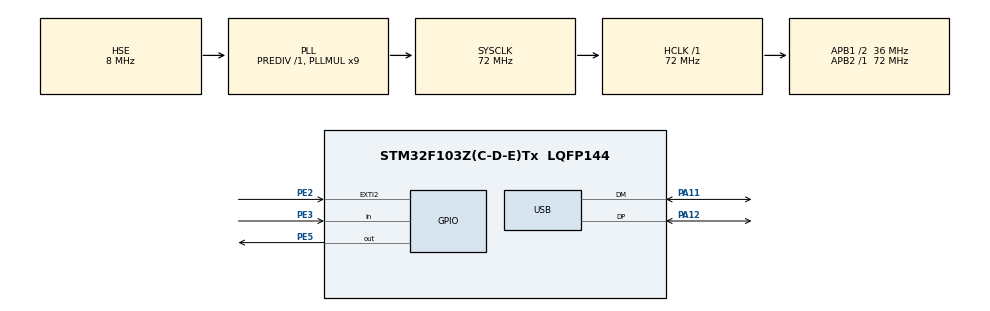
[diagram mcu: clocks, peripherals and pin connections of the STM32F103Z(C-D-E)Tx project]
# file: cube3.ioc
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Mcu.Family=STM32F1
Mcu.Name=STM32F103Z(C-D-E)Tx
Mcu.Package=LQFP144
NVIC.EXTI2_IRQn=true\:0\:0\:false\:false\:true
NVIC.PriorityGroup=NVIC_PRIORITYGROUP_4
NVIC.USB_LP_CAN1_RX0_IRQn=true\:0\:0\:false\:false\:true
OSC_IN.Mode=HSE-External-Oscillator
OSC_IN.Signal=RCC_OSC_IN
OSC_OUT.Mode=HSE-External-Oscillator
OSC_OUT.Signal=RCC_OSC_OUT
PA11.Mode=Device
PA11.Signal=USB_DM
PA12.Mode=Device
PA12.Signal=USB_DP
PA13.Mode=JTAG_5_pins
PA13.Signal=SYS_JTMS-SWDIO
PA14.Mode=JTAG_5_pins
PA14.Signal=SYS_JTCK-SWCLK
PA15.Mode=JTAG_5_pins
PA15.Signal=SYS_JTDI
PB3.Mode=JTAG_5_pins
PB3.Signal=SYS_JTDO-TRACESWO
PB4.Mode=JTAG_5_pins
PB4.Signal=SYS_NJTRST
PE2.GPIO_PuPd=GPIO_PULLUP
PE2.Signal=GPXTI2
PE3.GPIO_PuPd=GPIO_PULLUP
PE3.Signal=GPIO_Input
PE5.Signal=GPIO_Output
ProjectManager.HeapSize=0x200
ProjectManager.StackSize=0x400
ProjectManager.TargetToolchain=MDK-ARM V5
RCC.AHBFreq_Value=72000000
RCC.APB1CLKDivider=RCC_HCLK_DIV2
RCC.APB1Freq_Value=36000000
RCC.APB1TimFreq_Value=72000000
RCC.APB2Freq_Value=72000000
RCC.APB2TimFreq_Value=72000000
RCC.HCLKFreq_Value=72000000
RCC.HSIState=RCC_HSI_ON
RCC.PLLMUL=RCC_PLL_MUL9
RCC.SYSCLKFreq_VALUE=72000000
RCC.SYSCLKSource=RCC_SYSCLKSOURCE_PLLCLK
RCC.USBFreq_Value=48000000
RCC.USBPrescaler=RCC_USBCLKSOURCE_PLL_DIV1_5
USB_DEVICE.USBD_HandleTypeDef=hUsbDeviceFS
USB_DEVICE.VirtualMode=Hid
USB_DEVICE.VirtualModeFS=Hid_FS
VP_USB_DEVICE_VS_USB_DEVICE_HID_FS.Mode=HID_FS
board=cube3

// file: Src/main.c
/**
  ******************************************************************************
  * File Name          : main.c
  * Description        : Main program body
  ******************************************************************************
  *
  * Copyright (c) 2017 STMicroelectronics International N.V.
  * All rights reserved.
  *
  * Redistribution and use in source and binary forms, with or without
  * modification, are permitted, provided that the following conditions are met:
  *
  * 1. Redistribution of source code must retain the above copyright notice,
  *    this list of conditions and the following disclaimer.
  * 2. Redistributions in binary form must reproduce the above copyright notice,
  *    this list of conditions and the following disclaimer in the documentation
  *    and/or other materials provided with the distribution.
  * 3. Neither the name of STMicroelectronics nor the names of other
  *    contributors to this software may be used to endorse or promote products
  *    derived from this software without specific written permission.
  * 4. This software, including modifications and/or derivative works of this
  *    software, must execute solely and exclusively on microcontroller or
  *    microprocessor devices manufactured by or for STMicroelectronics.
  * 5. Redistribution and use of this software other than as permitted under
  *    this license is void and will automatically terminate your rights under
  *    this license.
  *
  * THIS SOFTWARE IS PROVIDED BY STMICROELECTRONICS AND CONTRIBUTORS "AS IS"
  * AND ANY EXPRESS, IMPLIED OR STATUTORY WARRANTIES, INCLUDING, BUT NOT
  * LIMITED TO, THE IMPLIED WARRANTIES OF MERCHANTABILITY, FITNESS FOR A
  * PARTICULAR PURPOSE AND NON-INFRINGEMENT OF THIRD PARTY INTELLECTUAL PROPERTY
  * RIGHTS ARE DISCLAIMED TO THE FULLEST EXTENT PERMITTED BY LAW. IN NO EVENT
  * SHALL STMICROELECTRONICS OR CONTRIBUTORS BE LIABLE FOR ANY DIRECT, INDIRECT,
  * INCIDENTAL, SPECIAL, EXEMPLARY, OR CONSEQUENTIAL DAMAGES (INCLUDING, BUT NOT
  * LIMITED TO, PROCUREMENT OF SUBSTITUTE GOODS OR SERVICES; LOSS OF USE, DATA,
  * OR PROFITS; OR BUSINESS INTERRUPTION) HOWEVER CAUSED AND ON ANY THEORY OF
  * LIABILITY, WHETHER IN CONTRACT, STRICT LIABILITY, OR TORT (INCLUDING
  * NEGLIGENCE OR OTHERWISE) ARISING IN ANY WAY OUT OF THE USE OF THIS SOFTWARE,
  * EVEN IF ADVISED OF THE POSSIBILITY OF SUCH DAMAGE.
  *
  ******************************************************************************
  */
#include "main.h"
#include "stm32f1xx_hal.h"
#include "usb_device.h"

/* USER CODE BEGIN Includes */
#include "usbd_hid.h"
#include "usb_device_keyboard.h"

//key0: PE4
//key1: PE3
//key2: PE2

/* USER CODE END Includes */

/* USER CODE BEGIN PV */
/* Private variables ---------------------------------------------------------*/
void SystemClock_Config(void);
void Error_Handler(void);
static void MX_GPIO_Init(void);
static uint8_t chars[] = {
	0x04, // a & A
	0x05, // b & B
	0x06, // c
	0x07, // d
	0x08, // e
	0x09, // f
	0x0a, // g
	0x0b, // h
	0x0c, // i
};
/* USER CODE END PV */

void SystemClock_Config(void);
void Error_Handler(void);
static void MX_GPIO_Init(void);

/* USER CODE BEGIN PFP */
/* Private function prototypes -----------------------------------------------*/

/* USER CODE END PFP */

int main(void)
{

  /* USER CODE BEGIN 1 */
extern USBD_HandleTypeDef hUsbDeviceFS;
extern USBD_HandleTypeDef hUsbDeviceFS_Keyboard;
uint8_t send_buf[8] = {0,0,0x11,0,0,0,0,0};
uint8_t send_null[8] = {0,0,0,0,0,0,0,0};
uint8_t cc = 'a';
uint8_t tmp = 0x00;

  /* USER CODE END 1 */

  /* MCU Configuration----------------------------------------------------------*/

  /* Reset of all peripherals, Initializes the Flash interface and the Systick. */
  HAL_Init();

  /* Configure the system clock */
  SystemClock_Config();

  /* Initialize all configured peripherals */
  MX_GPIO_Init();
  MX_USB_DEVICE_Init();

  /* USER CODE BEGIN 2 */
	MX_USB_DEVICE_Keyboard_Init();
	HAL_Delay(1000);
		switch ( cc )
  {
		case 'a':
				tmp = chars[4];
				break;
     case 'A':
				tmp = chars[4];
				break;
		 case 'b':
				tmp = chars[5];
				break;
     default:
        tmp = 0x13;
				break;
  }
	//send_buf[2] = tmp;
	USBD_HID_SendReport(&hUsbDeviceFS_Keyboard,send_buf,8);
	USBD_HID_SendReport(&hUsbDeviceFS_Keyboard,send_null,8);

	HAL_GPIO_WritePin(GPIOE,GPIO_PIN_5,GPIO_PIN_RESET);
	//HAL_GPIO_TogglePin(GPIOE,GPIO_PIN_5);
  /* USER CODE END 2 */

  /* Infinite loop */
  while (1)
  {
		if(HAL_GPIO_ReadPin(GPIOE,GPIO_PIN_3) == GPIO_PIN_RESET)
		{
			//USBD_HID_SendReport(&hUsbDeviceFS_Keyboard,send_null,8);
			HAL_Delay(500);
			USBD_HID_SendReport(&hUsbDeviceFS_Keyboard,send_buf,8);
			HAL_GPIO_WritePin(GPIOE,GPIO_PIN_5,GPIO_PIN_SET);
		}
		else
		{
			USBD_HID_SendReport(&hUsbDeviceFS_Keyboard,send_null,8);
		}
  }

}

/** System Clock Configuration
*/
void SystemClock_Config(void)
{

  RCC_OscInitTypeDef RCC_OscInitStruct;
  RCC_ClkInitTypeDef RCC_ClkInitStruct;
  RCC_PeriphCLKInitTypeDef PeriphClkInit;

    /**Initializes the CPU, AHB and APB busses clocks
    */
  RCC_OscInitStruct.OscillatorType = RCC_OSCILLATORTYPE_HSE;
  RCC_OscInitStruct.HSEState = RCC_HSE_ON;
  RCC_OscInitStruct.HSEPredivValue = RCC_HSE_PREDIV_DIV1;
  RCC_OscInitStruct.HSIState = RCC_HSI_ON;
  RCC_OscInitStruct.PLL.PLLState = RCC_PLL_ON;
  RCC_OscInitStruct.PLL.PLLSource = RCC_PLLSOURCE_HSE;
  RCC_OscInitStruct.PLL.PLLMUL = RCC_PLL_MUL9;
  if (HAL_RCC_OscConfig(&RCC_OscInitStruct) != HAL_OK)
  {
    Error_Handler();
  }

    /**Initializes the CPU, AHB and APB busses clocks
    */
  RCC_ClkInitStruct.ClockType = RCC_CLOCKTYPE_HCLK|RCC_CLOCKTYPE_SYSCLK
                              |RCC_CLOCKTYPE_PCLK1|RCC_CLOCKTYPE_PCLK2;
  RCC_ClkInitStruct.SYSCLKSource = RCC_SYSCLKSOURCE_PLLCLK;
  RCC_ClkInitStruct.AHBCLKDivider = RCC_SYSCLK_DIV1;
  RCC_ClkInitStruct.APB1CLKDivider = RCC_HCLK_DIV2;
  RCC_ClkInitStruct.APB2CLKDivider = RCC_HCLK_DIV1;

  if (HAL_RCC_ClockConfig(&RCC_ClkInitStruct, FLASH_LATENCY_2) != HAL_OK)
  {
    Error_Handler();
  }

  PeriphClkInit.PeriphClockSelection = RCC_PERIPHCLK_USB;
  PeriphClkInit.UsbClockSelection = RCC_USBCLKSOURCE_PLL_DIV1_5;
  if (HAL_RCCEx_PeriphCLKConfig(&PeriphClkInit) != HAL_OK)
  {
    Error_Handler();
  }

    /**Configure the Systick interrupt time
    */
  HAL_SYSTICK_Config(HAL_RCC_GetHCLKFreq()/1000);

    /**Configure the Systick
    */
  HAL_SYSTICK_CLKSourceConfig(SYSTICK_CLKSOURCE_HCLK);

  /* SysTick_IRQn interrupt configuration */
  HAL_NVIC_SetPriority(SysTick_IRQn, 0, 0);
}

/** Configure pins as
        * Analog
        * Input
        * Output
        * EVENT_OUT
        * EXTI
*/
static void MX_GPIO_Init(void)
{

  GPIO_InitTypeDef GPIO_InitStruct;

  /* GPIO Ports Clock Enable */
  __HAL_RCC_GPIOE_CLK_ENABLE();
  __HAL_RCC_GPIOA_CLK_ENABLE();
  __HAL_RCC_GPIOB_CLK_ENABLE();

  /*Configure GPIO pin : PE2 */
  GPIO_InitStruct.Pin = GPIO_PIN_2;
  GPIO_InitStruct.Mode = GPIO_MODE_IT_RISING;
  GPIO_InitStruct.Pull = GPIO_PULLUP;
  HAL_GPIO_Init(GPIOE, &GPIO_InitStruct);

  /*Configure GPIO pin : PE3 */
  GPIO_InitStruct.Pin = GPIO_PIN_3;
  GPIO_InitStruct.Mode = GPIO_MODE_INPUT;
  GPIO_InitStruct.Pull = GPIO_PULLUP;
  HAL_GPIO_Init(GPIOE, &GPIO_InitStruct);

  /*Configure GPIO pin : PE5 */
  GPIO_InitStruct.Pin = GPIO_PIN_5;
  GPIO_InitStruct.Mode = GPIO_MODE_OUTPUT_PP;
  GPIO_InitStruct.Speed = GPIO_SPEED_FREQ_LOW;
  HAL_GPIO_Init(GPIOE, &GPIO_InitStruct);

  /*Configure GPIO pin Output Level */
  HAL_GPIO_WritePin(GPIOE, GPIO_PIN_5, GPIO_PIN_RESET);

  /* EXTI interrupt init*/
  HAL_NVIC_SetPriority(EXTI2_IRQn, 0, 0);
  HAL_NVIC_EnableIRQ(EXTI2_IRQn);

}

void Error_Handler(void)
{
  while(1)
  {
  }
}

/************************ (C) COPYRIGHT STMicroelectronics *****END OF FILE****/
